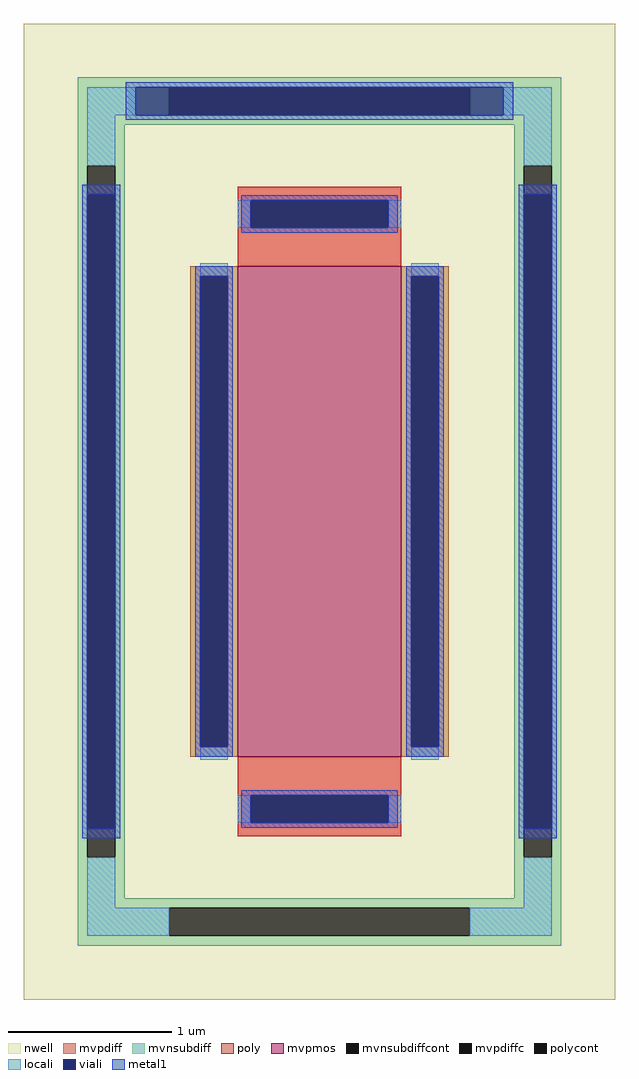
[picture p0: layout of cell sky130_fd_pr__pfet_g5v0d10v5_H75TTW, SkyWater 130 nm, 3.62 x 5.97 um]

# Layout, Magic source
magic
tech sky130A
magscale 1 2
<< nwell >>
rect -362 -597 362 597
<< mvpmos >>
rect -100 -300 100 300
<< mvpdiff >>
rect -158 288 -100 300
rect -158 -288 -146 288
rect -112 -288 -100 288
rect -158 -300 -100 -288
rect 100 288 158 300
rect 100 -288 112 288
rect 146 -288 158 288
rect 100 -300 158 -288
<< mvpdiffc >>
rect -146 -288 -112 288
rect 112 -288 146 288
<< mvnsubdiff >>
rect -296 519 296 531
rect -296 485 -184 519
rect 184 485 296 519
rect -296 473 296 485
rect -296 423 -238 473
rect -296 -423 -284 423
rect -250 -423 -238 423
rect 238 423 296 473
rect -296 -473 -238 -423
rect 238 -423 250 423
rect 284 -423 296 423
rect 238 -473 296 -423
rect -296 -485 296 -473
rect -296 -519 -184 -485
rect 184 -519 296 -485
rect -296 -531 296 -519
<< mvnsubdiffcont >>
rect -184 485 184 519
rect -284 -423 -250 423
rect 250 -423 284 423
rect -184 -519 184 -485
<< poly >>
rect -100 381 100 397
rect -100 347 -84 381
rect 84 347 100 381
rect -100 300 100 347
rect -100 -347 100 -300
rect -100 -381 -84 -347
rect 84 -381 100 -347
rect -100 -397 100 -381
<< polycont >>
rect -84 347 84 381
rect -84 -381 84 -347
<< locali >>
rect -284 485 -225 519
rect 225 485 284 519
rect -284 423 -250 485
rect 250 423 284 485
rect -100 347 -84 381
rect 84 347 100 381
rect -146 288 -112 304
rect -146 -304 -112 -288
rect 112 288 146 304
rect 112 -304 146 -288
rect -100 -381 -84 -347
rect 84 -381 100 -347
rect -284 -485 -250 -423
rect 250 -485 284 -423
rect -284 -519 -184 -485
rect 184 -519 284 -485
<< viali >>
rect -225 485 -184 519
rect -184 485 184 519
rect 184 485 225 519
rect -284 -388 -250 388
rect -84 347 84 381
rect -146 -288 -112 288
rect 112 -288 146 288
rect -84 -381 84 -347
rect 250 -388 284 388
<< metal1 >>
rect -237 519 237 525
rect -237 485 -225 519
rect 225 485 237 519
rect -237 479 237 485
rect -290 388 -244 400
rect -290 -388 -284 388
rect -250 -388 -244 388
rect 244 388 290 400
rect -96 381 96 387
rect -96 347 -84 381
rect 84 347 96 381
rect -96 341 96 347
rect -152 288 -106 300
rect -152 -288 -146 288
rect -112 -288 -106 288
rect -152 -300 -106 -288
rect 106 288 152 300
rect 106 -288 112 288
rect 146 -288 152 288
rect 106 -300 152 -288
rect -96 -347 96 -341
rect -96 -381 -84 -347
rect 84 -381 96 -347
rect -96 -387 96 -381
rect -290 -400 -244 -388
rect 244 -388 250 388
rect 284 -388 290 388
rect 244 -400 290 -388
<< properties >>
string FIXED_BBOX -263 -502 263 502
string gencell sky130_fd_pr__pfet_g5v0d10v5
string library sky130
string parameters w 3.0 l 1.0 m 1 nf 1 diffcov 100 polycov 100 guard 1 glc 1 grc 1 gtc 1 gbc 1 tbcov 100 rlcov 100 topc 1 botc 1 poverlap 0 doverlap 1 lmin 0.50 wmin 0.42 compatible {sky130_fd_pr__pfet_01v8  sky130_fd_pr__pfet_01v8_lvt sky130_fd_pr__pfet_01v8_hvt  sky130_fd_pr__pfet_g5v0d10v5} full_metal 1 viasrc 100 viadrn 100 viagate 100 viagb 0 viagr 80 viagl 80 viagt 90
<< end >>
